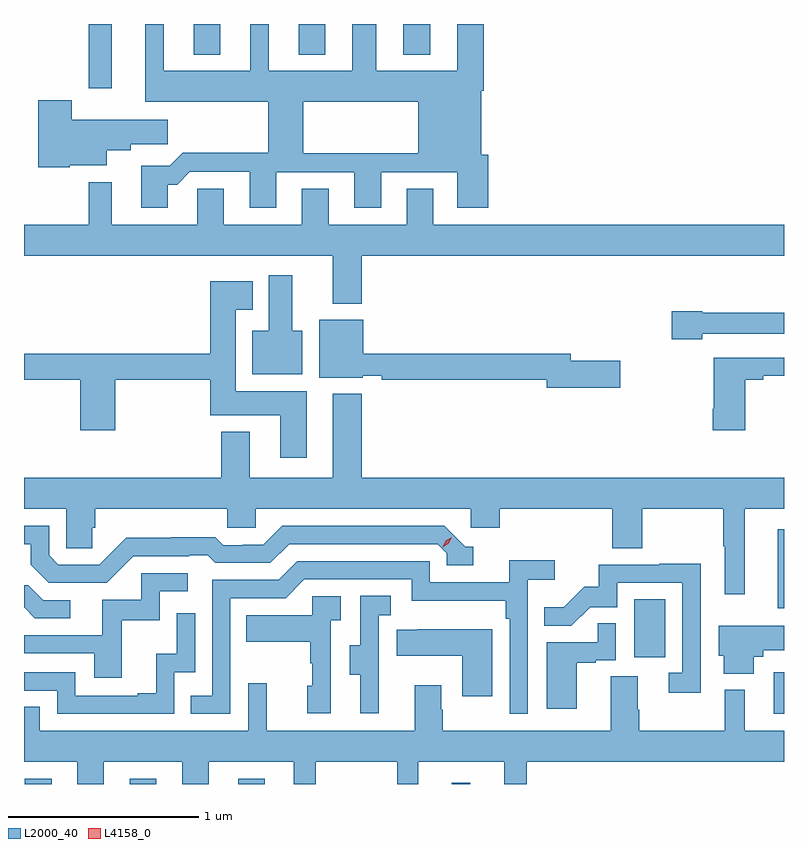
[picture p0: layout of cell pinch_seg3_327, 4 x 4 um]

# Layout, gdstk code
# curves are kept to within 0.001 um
import gdstk
lib = gdstk.Library(unit=1e-6, precision=1e-09)
def R(c, l, rs):  # rectangles x0, y0, x1, y1
    for r in rs: c.add(gdstk.rectangle(r[:2], r[2:], *l))
def A(c, l, x, y, w, h, nx, ny, dx, dy):  # array of equal rectangles
    R(c, l, [(x+i*dx, y+j*dy, x+i*dx+w, y+j*dy+h) for i in range(nx) for j in range(ny)])
def P(c, l, *ps):  # polygons
    for p in ps: c.add(gdstk.Polygon(p, *l))
L2000_40 = (2000, 40)
L4158_0 = (4158, 0)

pinch_seg3_327 = lib.new_cell('pinch_seg3_327')
A(pinch_seg3_327, L2000_40, 998.873, 724.619, 0.14, 0.161, 3, 1, 0.552, 0)
R(pinch_seg3_327, L2000_40, [(997.985,720.78,998.125,720.808), (998.537,720.78,998.677,720.808), (999.107,720.78,999.247,720.808), (1000.232,720.78,1000.329,720.787), (1001.927,721.149,1001.98,721.369), (1001.192,721.446,1001.356,721.753), (1001.948,721.706,1001.98,722.122), (998.322,724.443,998.443,724.78)])
P(pinch_seg3_327, L2000_40, [(998.597,724.033),(998.597,723.813),(998.737,723.813),(998.737,723.935),(998.786,723.935),(998.853,724.002),(999.167,724.002),(999.167,723.813),(999.307,723.813),(999.307,723.999),(999.719,723.999),(999.719,723.813),(999.859,723.813),(999.859,723.999),(1000.259,723.999),(1000.259,723.813),(1000.424,723.813),(1000.424,724.092),(1000.387,724.092),(1000.387,724.43),(1000.4,724.43),(1000.4,724.78),(1000.259,724.78),(1000.259,724.534),(999.835,724.534),(999.835,724.78),(999.707,724.78),(999.707,724.534),(999.268,724.534),(999.268,724.78),(999.17,724.78),(999.17,724.534),(998.716,724.534),(998.716,724.78),(998.618,724.78),(998.618,724.37),(999.266,724.37),(999.266,724.103),(998.816,724.103),(998.813,724.1),(999.449,724.1),(999.449,724.37),(1000.055,724.37),(1000.055,724.1),(998.813,724.1),(998.746,724.033)],
  [(998.22,724.037),(998.416,724.037),(998.416,724.115),(998.542,724.115),(998.542,724.147),(998.737,724.147),(998.737,724.276),(998.232,724.276),(998.232,724.378),(998.054,724.378),(998.054,724.025),(998.22,724.025)],
  [(999.758,723.56),(1001.98,723.56),(1001.98,723.724),(1000.135,723.724),(1000.135,723.914),(999.995,723.914),(999.995,723.724),(999.583,723.724),(999.583,723.914),(999.443,723.914),(999.443,723.724),(999.031,723.724),(999.031,723.914),(998.892,723.914),(998.892,723.724),(998.443,723.724),(998.443,723.946),(998.322,723.946),(998.322,723.724),(997.98,723.724),(997.98,723.56),(999.605,723.56),(999.605,723.308),(999.758,723.308)],
  [(999.445,723.166),(999.391,723.166),(999.391,723.457),(999.269,723.457),(999.269,723.166),(999.182,723.166),(999.182,722.936),(999.445,722.936)],
  [(999.469,722.848),(999.094,722.848),(999.094,723.275),(999.184,723.275),(999.184,723.427),(998.96,723.427),(998.96,723.044),(997.98,723.044),(997.98,722.908),(998.276,722.908),(998.276,722.643),(998.459,722.643),(998.459,722.908),(998.96,722.908),(998.96,722.72),(999.329,722.72),(999.329,722.496),(999.469,722.496)],
  [(1001.55,723.15),(1001.98,723.15),(1001.98,723.259),(1001.55,723.259),(1001.55,723.267),(1001.388,723.267),(1001.388,723.122),(1001.55,723.122)],
  [(1001.119,723.008),(1000.858,723.008),(1000.858,723.044),(999.766,723.044),(999.766,723.223),(999.533,723.223),(999.533,722.918),(999.762,722.918),(999.762,722.928),(999.862,722.928),(999.862,722.908),(1000.73,722.908),(1000.73,722.866),(1001.119,722.866)],
  [(1001.776,722.908),(1001.872,722.908),(1001.872,722.928),(1001.98,722.928),(1001.98,723.024),(1001.611,723.024),(1001.611,722.755),(1001.606,722.755),(1001.606,722.643),(1001.776,722.643)],
  [(1001.773,722.228),(1001.98,722.228),(1001.98,722.392),(999.758,722.392),(999.758,722.833),(999.605,722.833),(999.605,722.392),(999.169,722.392),(999.169,722.635),(999.017,722.635),(999.017,722.392),(997.98,722.392),(997.98,722.228),(998.202,722.228),(998.202,722.02),(998.339,722.02),(998.339,722.13),(998.354,722.13),(998.354,722.228),(999.051,722.228),(999.051,722.13),(999.201,722.13),(999.201,722.228),(1000.332,722.228),(1000.332,722.13),(1000.484,722.13),(1000.484,722.228),(1001.075,722.228),(1001.075,722.02),(1001.235,722.02),(1001.235,722.228),(1001.659,722.228),(1001.659,722.032),(1001.669,722.032),(1001.669,721.779),(1001.773,721.779)],
  [(998.556,721.98),(998.849,721.98),(998.849,721.983),(998.948,721.983),(998.987,721.944),(999.276,721.944),(999.375,722.043),(1000.158,722.043),(1000.206,721.995),(1000.206,721.932),(1000.345,721.932),(1000.345,722.028),(1000.302,722.028),(1000.191,722.139),(999.338,722.139),(999.239,722.04),(999.132,722.04),(999.132,722.037),(999.029,722.037),(998.987,722.08),(998.754,722.08),(998.754,722.077),(998.518,722.077),(998.376,721.935),(998.16,721.935),(998.112,721.983),(998.112,722.139),(997.98,722.139),(997.98,722.043),(998.015,722.043),(998.015,721.933),(998.109,721.839),(998.415,721.839)],
  [(999.066,721.758),(999.357,721.758),(999.456,721.857),(1000.02,721.857),(1000.02,721.745),(1000.516,721.745),(1000.516,721.649),(1000.536,721.649),(1000.536,721.149),(1000.632,721.149),(1000.632,721.856),(1000.774,721.856),(1000.774,721.958),(1000.535,721.958),(1000.535,721.842),(1000.116,721.842),(1000.116,721.953),(999.419,721.953),(999.32,721.854),(998.97,721.854),(998.97,721.245),(998.857,721.245),(998.857,721.149),(999.066,721.149)],
  [(1001.541,721.94),(1001.323,721.94),(1001.323,721.935),(1001.005,721.935),(1001.005,721.818),(1000.928,721.818),(1000.821,721.711),(1000.717,721.711),(1000.717,721.612),(1000.861,721.612),(1000.959,721.71),(1001.103,721.71),(1001.103,721.839),(1001.445,721.839),(1001.445,721.365),(1001.373,721.365),(1001.373,721.26),(1001.541,721.26)],
  [(998.495,721.641),(998.694,721.641),(998.694,721.794),(998.842,721.794),(998.842,721.89),(998.598,721.89),(998.598,721.749),(998.393,721.749),(998.393,721.563),(997.98,721.563),(997.98,721.467),(998.351,721.467),(998.351,721.338),(998.495,721.338)],
  [(998.224,721.746),(998.082,721.746),(998.002,721.826),(997.98,721.826),(997.98,721.709),(998.036,721.653),(998.224,721.653)],
  [(999.848,721.365),(999.846,721.365),(999.846,721.669),(999.91,721.669),(999.91,721.772),(999.75,721.772),(999.75,721.509),(999.695,721.509),(999.695,721.354),(999.749,721.354),(999.749,721.152),(999.848,721.152)],
  [(999.594,721.643),(999.646,721.643),(999.646,721.767),(999.498,721.767),(999.498,721.669),(999.151,721.669),(999.151,721.529),(999.486,721.529),(999.486,721.415),(999.496,721.415),(999.496,721.296),(999.47,721.296),(999.47,721.152),(999.594,721.152)],
  [(998.772,721.368),(998.88,721.368),(998.88,721.678),(998.784,721.678),(998.784,721.466),(998.675,721.466),(998.675,721.258),(998.579,721.258),(998.579,721.245),(998.25,721.245),(998.25,721.368),(997.98,721.368),(997.98,721.272),(998.154,721.272),(998.154,721.149),(998.772,721.149)],
  [(1000.888,721.419),(1000.988,721.419),(1000.988,721.431),(1001.094,721.431),(1001.094,721.625),(1000.999,721.625),(1000.999,721.527),(1000.73,721.527),(1000.73,721.176),(1000.888,721.176)],
  [(1001.821,721.451),(1001.872,721.451),(1001.872,721.483),(1001.98,721.483),(1001.98,721.612),(1001.636,721.612),(1001.636,721.455),(1001.663,721.455),(1001.663,721.361),(1001.821,721.361)],
  [(1000.444,721.594),(1000.051,721.594),(1000.051,721.591),(999.943,721.591),(999.943,721.454),(1000.286,721.454),(1000.286,721.242),(1000.444,721.242)],
  [(998.064,721.187),(997.98,721.187),(997.98,720.896),(998.261,720.896),(998.261,720.78),(998.401,720.78),(998.401,720.896),(998.813,720.896),(998.813,720.78),(998.952,720.78),(998.952,720.896),(999.401,720.896),(999.401,720.78),(999.515,720.78),(999.515,720.896),(999.945,720.896),(999.945,720.78),(1000.055,720.78),(1000.055,720.896),(1000.508,720.896),(1000.508,720.78),(1000.625,720.78),(1000.625,720.896),(1001.98,720.896),(1001.98,721.06),(1001.773,721.06),(1001.773,721.276),(1001.669,721.276),(1001.669,721.06),(1001.217,721.06),(1001.217,721.172),(1001.209,721.172),(1001.209,721.346),(1001.069,721.346),(1001.069,721.06),(1000.185,721.06),(1000.185,721.172),(1000.177,721.172),(1000.177,721.3),(1000.037,721.3),(1000.037,721.06),(999.257,721.06),(999.257,721.309),(999.159,721.309),(999.159,721.06),(998.064,721.06)])
P(pinch_seg3_327, L4158_0, [(1000.184,722.027),(1000.184,722.027),(1000.2,722.06),(1000.231,722.079),(1000.232,722.079),(1000.232,722.079),(1000.215,722.046),(1000.184,722.027)])

lib.write_gds('pinch_seg3_327.gds')
